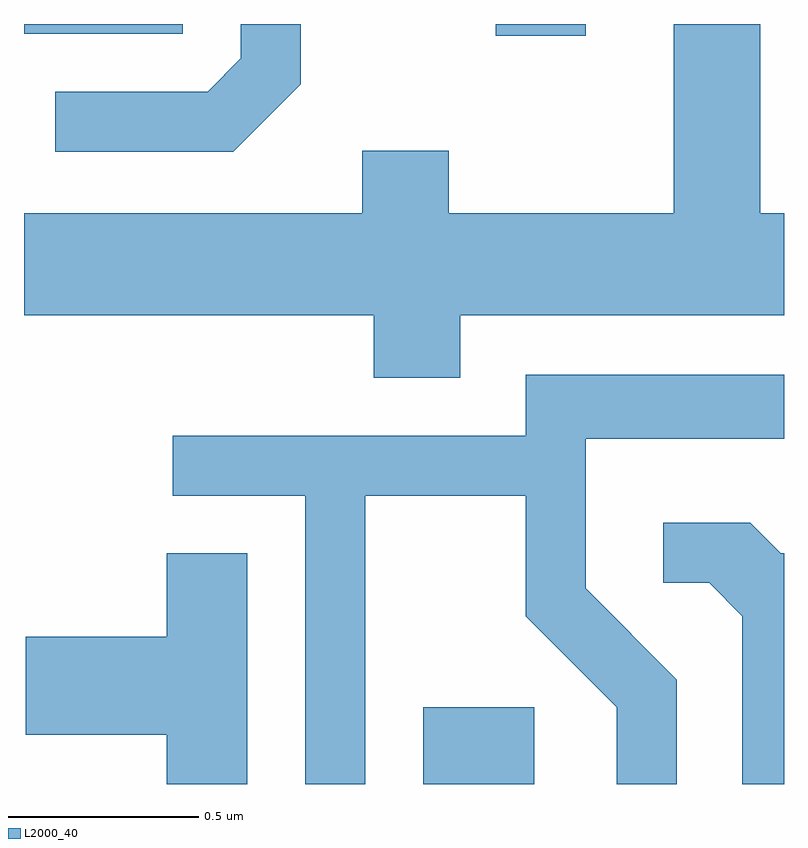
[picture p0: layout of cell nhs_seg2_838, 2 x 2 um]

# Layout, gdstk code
import gdstk
lib = gdstk.Library(unit=1e-6, precision=1e-09)
def R(c, l, rs):  # rectangles x0, y0, x1, y1
    for r in rs: c.add(gdstk.rectangle(r[:2], r[2:], *l))
def P(c, l, *ps):  # polygons
    for p in ps: c.add(gdstk.Polygon(p, *l))
L2000_40 = (2000, 40)

nhs_seg2_838 = lib.new_cell('nhs_seg2_838')
R(nhs_seg2_838, L2000_40, [(192.661,993.802,192.954,994.004), (192.853,995.771,193.089,995.802), (191.611,995.776,192.029,995.802)])
P(nhs_seg2_838, L2000_40, [(192.759,995.036),(193.611,995.036),(193.611,995.304),(193.549,995.304),(193.549,995.802),(193.321,995.802),(193.321,995.304),(192.729,995.304),(192.729,995.469),(192.501,995.469),(192.501,995.304),(191.611,995.304),(191.611,995.036),(192.531,995.036),(192.531,994.871),(192.759,994.871)],
  [(192.339,995.644),(192.339,995.802),(192.181,995.802),(192.181,995.712),(192.094,995.624),(191.693,995.624),(191.693,995.466),(192.162,995.466)],
  [(192.509,994.561),(192.931,994.561),(192.931,994.244),(193.171,994.004),(193.171,993.802),(193.329,993.802),(193.329,994.077),(193.089,994.317),(193.089,994.711),(193.611,994.711),(193.611,994.879),(192.931,994.879),(192.931,994.719),(192.003,994.719),(192.003,994.561),(192.351,994.561),(192.351,993.802),(192.509,993.802)],
  [(193.611,994.409),(193.602,994.409),(193.522,994.489),(193.293,994.489),(193.293,994.331),(193.414,994.331),(193.501,994.244),(193.501,993.802),(193.611,993.802)],
  [(192.199,994.409),(191.986,994.409),(191.986,994.189),(191.616,994.189),(191.616,993.931),(191.986,993.931),(191.986,993.802),(192.199,993.802)])

lib.write_gds('nhs_seg2_838.gds')
